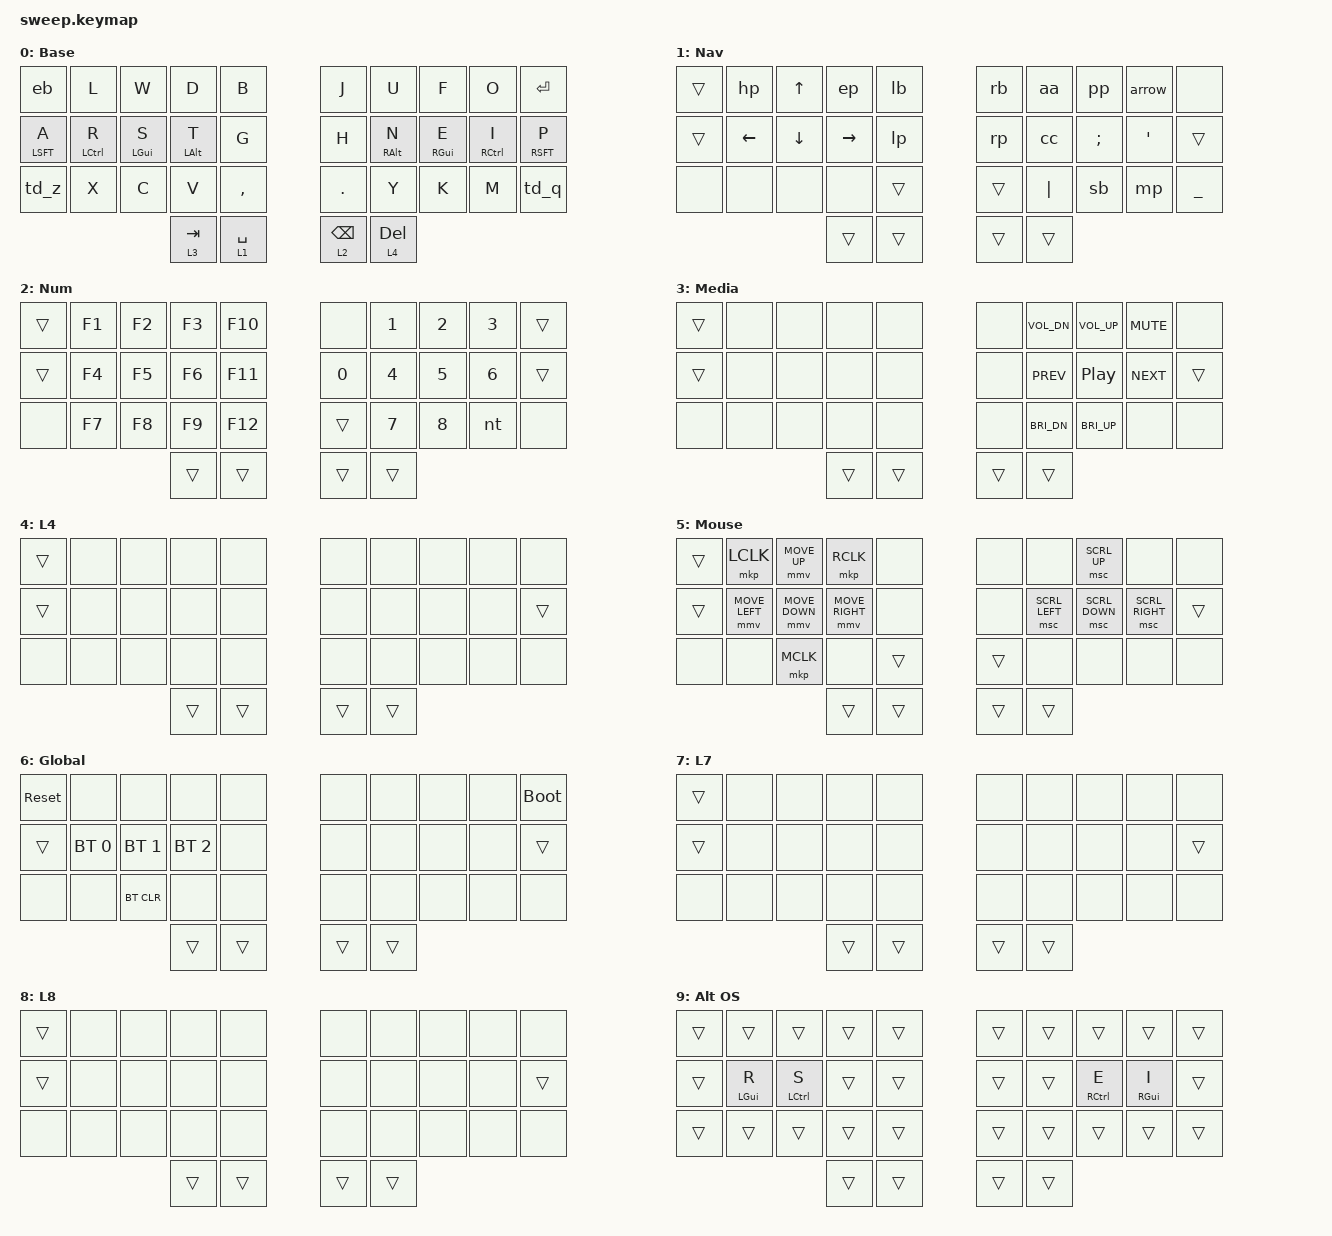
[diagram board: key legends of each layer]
// Copyright (c) 2022 The ZMK Contributors
// SPDX-License-Identifier: MIT

/* ============================ LAYOUT TEMPLATE ============================
   Edit this block, then ask to "translate": the ZMK keymap below is
   regenerated from it. Everything after this block is generated.

   How layers work
     Thumbs, left to right:   TL1   TL0   │   TR0   TR1
     Each thumb held alone gives one layer. Any two thumbs held together
     give a combo layer. Shift lives on the pinky home keys (a, p) and is
     transparent on every layer, so shift-morphs (a|b) work everywhere.

     L0  base
     L1  hold TL0            L5  TL0 + TR0
     L2  hold TR0            L6  TL1 + TR1   global (bluetooth, boot)
     L3  hold TL1            L7  TL1 + TR0   free
     L4  hold TR1   free     L8  TL0 + TR1   free
     L9  alt OS, toggle by double tap on z or q

   Cell syntax
     a          plain key. Names: letters, digits, f1..f12, esc tab ent bspc
                del spc home end pgup pgdn left down up right pipe
                and literal ; , . / ' - = [ ] \ ` ~ _ + < > ( ) { } & : ! ?
     ctl/r      hold = modifier (ctl gui alt sft), tap = key
     L1/spc     hold = layer 1, tap = key
     ctl/z*     same, plus double tap toggles L9 (alt OS)
     [|<        shift-morph: [ normally, < while shift held
     "->"       macro, types the string
     mup mdn mlt mrt    mouse move      msu msd msl msr   mouse scroll
     mlc mrc mmc        mouse click
     vold volu mute play prev next brid briu   media
     bt0 bt1 bt2 btclr boot reset       -  nothing    .  transparent

   L0 base
     esc|`   l       w       d       b       │  j        u       f       o       ent
     sft/a   ctl/r   gui/s   alt/t   g       │  h        alt/n   gui/e   ctl/i   sft/p
     ctl/z*  x       c       v       ,       │  .        y       k       m       ctl/q*
                             L3/tab  L1/spc  │  L2/bspc  L4/del

   L1 hold TL0  (navigation, brackets, symbols)
     .       home|pgdn up    end|pgup [|<    │  ]|>      "&&"    "||"    "->"    -
     .       left    down    right   (|{     │  )|}      "::"    ;       '       .
     -       -       -       -       .       │  .        pipe    /|\     -|+     _
                             .       .       │  .        .

   L2 hold TR0  (numbers, function keys)
     .       f1      f2      f3      f10     │  -        1       2       3       .
     .       f4      f5      f6      f11     │  0        4       5       6       .
     -       f7      f8      f9      f12     │  .        7       8       9|~     -
                             .       .       │  .        .

   L3 hold TL1  (media)
     .       -       -       -       -       │  -        vold    volu    mute    -
     .       -       -       -       -       │  -        prev    play    next    .
     -       -       -       -       -       │  -        brid    briu    -       -
                             .       .       │  .        .

   L4 hold TR1  (free)
     .       -       -       -       -       │  -        -       -       -       -
     .       -       -       -       -       │  -        -       -       -       .
     -       -       -       -       -       │  -        -       -       -       -
                             .       .       │  .        .

   L5 TL0 + TR0  (mouse)
     .       mlc     mup     mrc     -       │  -        -       msu     -       -
     .       mlt     mdn     mrt     -       │  -        msl     msd     msr     .
     -       -       mmc     -       .       │  .        -       -       -       -
                             .       .       │  .        .

   L6 TL1 + TR1  (global)
     reset   -       -       -       -       │  -        -       -       -       boot
     .       bt0     bt1     bt2     -       │  -        -       -       -       .
     -       -       btclr   -       -       │  -        -       -       -       -
                             .       .       │  .        .

   L7 TL1 + TR0  (free)
     .       -       -       -       -       │  -        -       -       -       -
     .       -       -       -       -       │  -        -       -       -       .
     -       -       -       -       -       │  -        -       -       -       -
                             .       .       │  .        .

   L8 TL0 + TR1  (free)
     .       -       -       -       -       │  -        -       -       -       -
     .       -       -       -       -       │  -        -       -       -       .
     -       -       -       -       -       │  -        -       -       -       -
                             .       .       │  .        .

   L9 alt OS  (swaps gui and ctl on the home row)
     .       .       .       .       .       │  .        .       .       .       .
     .       gui/r   ctl/s   .       .       │  .        .       ctl/e   gui/i   .
     .       .       .       .       .       │  .        .       .       .       .
                             .       .       │  .        .
   ========================================================================= */

#include <behaviors.dtsi>
#include <dt-bindings/zmk/keys.h>
#include <dt-bindings/zmk/bt.h>
#include <dt-bindings/zmk/pointing.h>

/ {
    behaviors {
        ht: hold_tap {
            compatible = "zmk,behavior-hold-tap";
            #binding-cells = <2>;
            flavor = "tap-preferred";
            tapping-term-ms = <220>;
            quick-tap-ms = <150>;
            require-prior-idle-ms = <100>;
            bindings = <&kp>, <&kp>;
        };

        // shift-morphs: a|b
        eb: eb { compatible = "zmk,behavior-mod-morph"; #binding-cells = <0>; mods = <(MOD_LSFT|MOD_RSFT)>; bindings = <&kp ESC>,   <&kp GRAVE>; };
        hp: hp { compatible = "zmk,behavior-mod-morph"; #binding-cells = <0>; mods = <(MOD_LSFT|MOD_RSFT)>; bindings = <&kp HOME>,  <&kp PG_DN>; };
        ep: ep { compatible = "zmk,behavior-mod-morph"; #binding-cells = <0>; mods = <(MOD_LSFT|MOD_RSFT)>; bindings = <&kp END>,   <&kp PG_UP>; };
        lb: lb { compatible = "zmk,behavior-mod-morph"; #binding-cells = <0>; mods = <(MOD_LSFT|MOD_RSFT)>; bindings = <&kp LBKT>,  <&kp LT>; };
        rb: rb { compatible = "zmk,behavior-mod-morph"; #binding-cells = <0>; mods = <(MOD_LSFT|MOD_RSFT)>; bindings = <&kp RBKT>,  <&kp GT>; };
        lp: lp { compatible = "zmk,behavior-mod-morph"; #binding-cells = <0>; mods = <(MOD_LSFT|MOD_RSFT)>; bindings = <&kp LPAR>,  <&kp LBRC>; };
        rp: rp { compatible = "zmk,behavior-mod-morph"; #binding-cells = <0>; mods = <(MOD_LSFT|MOD_RSFT)>; bindings = <&kp RPAR>,  <&kp RBRC>; };
        sb: sb { compatible = "zmk,behavior-mod-morph"; #binding-cells = <0>; mods = <(MOD_LSFT|MOD_RSFT)>; bindings = <&kp FSLH>,  <&kp BSLH>; };
        mp: mp { compatible = "zmk,behavior-mod-morph"; #binding-cells = <0>; mods = <(MOD_LSFT|MOD_RSFT)>; bindings = <&kp MINUS>, <&kp PLUS>; };
        nt: nt { compatible = "zmk,behavior-mod-morph"; #binding-cells = <0>; mods = <(MOD_LSFT|MOD_RSFT)>; bindings = <&kp N9>,    <&kp TILDE>; };

        // ctl/z* and ctl/q*: tap z/q, hold ctrl, double tap toggles alt OS
        td_z: td_z { compatible = "zmk,behavior-tap-dance"; #binding-cells = <0>; tapping-term-ms = <250>; bindings = <&ht LCTRL Z>, <&tog 9>; };
        td_q: td_q { compatible = "zmk,behavior-tap-dance"; #binding-cells = <0>; tapping-term-ms = <250>; bindings = <&ht RCTRL Q>, <&tog 9>; };
    };

    macros {
        aa:    aa    { compatible = "zmk,behavior-macro"; #binding-cells = <0>; bindings = <&kp AMPS &kp AMPS>; };
        pp:    pp    { compatible = "zmk,behavior-macro"; #binding-cells = <0>; bindings = <&kp PIPE &kp PIPE>; };
        arrow: arrow { compatible = "zmk,behavior-macro"; #binding-cells = <0>; bindings = <&kp MINUS &kp GT>; };
        cc:    cc    { compatible = "zmk,behavior-macro"; #binding-cells = <0>; bindings = <&kp COLON &kp COLON>; };
    };

    conditional_layers {
        compatible = "zmk,conditional-layers";
        tl0_tr0 { if-layers = <1 2>; then-layer = <5>; };
        tl1_tr1 { if-layers = <3 4>; then-layer = <6>; };
        tl1_tr0 { if-layers = <3 2>; then-layer = <7>; };
        tl0_tr1 { if-layers = <1 4>; then-layer = <8>; };
    };

    keymap {
        compatible = "zmk,keymap";

        l0_base {
            display-name = "Base";
            bindings = <
  &eb           &kp L         &kp W         &kp D         &kp B             &kp J         &kp U         &kp F         &kp O         &kp ENTER
  &ht LSFT A    &ht LCTRL R   &ht LGUI S    &ht LALT T    &kp G             &kp H         &ht RALT N    &ht RGUI E    &ht RCTRL I   &ht RSFT P
  &td_z         &kp X         &kp C         &kp V         &kp COMMA         &kp DOT       &kp Y         &kp K         &kp M         &td_q
                                            &lt 3 TAB     &lt 1 SPACE       &lt 2 BSPC    &lt 4 DEL
            >;
        };

        l1_tl0 {
            display-name = "Nav";
            bindings = <
  &trans        &hp           &kp UP        &ep           &lb               &rb           &aa           &pp           &arrow        &none
  &trans        &kp LEFT      &kp DOWN      &kp RIGHT     &lp               &rp           &cc           &kp SEMI      &kp QUOT      &trans
  &none         &none         &none         &none         &trans            &trans        &kp PIPE      &sb           &mp           &kp UNDER
                                            &trans        &trans            &trans        &trans
            >;
        };

        l2_tr0 {
            display-name = "Num";
            bindings = <
  &trans        &kp F1        &kp F2        &kp F3        &kp F10           &none         &kp N1        &kp N2        &kp N3        &trans
  &trans        &kp F4        &kp F5        &kp F6        &kp F11           &kp N0        &kp N4        &kp N5        &kp N6        &trans
  &none         &kp F7        &kp F8        &kp F9        &kp F12           &trans        &kp N7        &kp N8        &nt           &none
                                            &trans        &trans            &trans        &trans
            >;
        };

        l3_tl1 {
            display-name = "Media";
            bindings = <
  &trans        &none         &none         &none         &none             &none         &kp C_VOL_DN  &kp C_VOL_UP  &kp C_MUTE    &none
  &trans        &none         &none         &none         &none             &none         &kp C_PREV    &kp C_PP      &kp C_NEXT    &trans
  &none         &none         &none         &none         &none             &none         &kp C_BRI_DN  &kp C_BRI_UP  &none         &none
                                            &trans        &trans            &trans        &trans
            >;
        };

        l4_tr1 {
            display-name = "L4";
            bindings = <
  &trans        &none         &none         &none         &none             &none         &none         &none         &none         &none
  &trans        &none         &none         &none         &none             &none         &none         &none         &none         &trans
  &none         &none         &none         &none         &none             &none         &none         &none         &none         &none
                                            &trans        &trans            &trans        &trans
            >;
        };

        l5_tl0_tr0 {
            display-name = "Mouse";
            bindings = <
  &trans        &mkp LCLK     &mmv MOVE_UP  &mkp RCLK     &none             &none         &none         &msc SCRL_UP  &none         &none
  &trans        &mmv MOVE_LEFT &mmv MOVE_DOWN &mmv MOVE_RIGHT &none         &none         &msc SCRL_LEFT &msc SCRL_DOWN &msc SCRL_RIGHT &trans
  &none         &none         &mkp MCLK     &none         &trans            &trans        &none         &none         &none         &none
                                            &trans        &trans            &trans        &trans
            >;
        };

        l6_tl1_tr1 {
            display-name = "Global";
            bindings = <
  &sys_reset    &none         &none         &none         &none             &none         &none         &none         &none         &bootloader
  &trans        &bt BT_SEL 0  &bt BT_SEL 1  &bt BT_SEL 2  &none             &none         &none         &none         &none         &trans
  &none         &none         &bt BT_CLR    &none         &none             &none         &none         &none         &none         &none
                                            &trans        &trans            &trans        &trans
            >;
        };

        l7_tl1_tr0 {
            display-name = "L7";
            bindings = <
  &trans        &none         &none         &none         &none             &none         &none         &none         &none         &none
  &trans        &none         &none         &none         &none             &none         &none         &none         &none         &trans
  &none         &none         &none         &none         &none             &none         &none         &none         &none         &none
                                            &trans        &trans            &trans        &trans
            >;
        };

        l8_tl0_tr1 {
            display-name = "L8";
            bindings = <
  &trans        &none         &none         &none         &none             &none         &none         &none         &none         &none
  &trans        &none         &none         &none         &none             &none         &none         &none         &none         &trans
  &none         &none         &none         &none         &none             &none         &none         &none         &none         &none
                                            &trans        &trans            &trans        &trans
            >;
        };

        l9_alt_os {
            display-name = "Alt OS";
            bindings = <
  &trans        &trans        &trans        &trans        &trans            &trans        &trans        &trans        &trans        &trans
  &trans        &ht LGUI R    &ht LCTRL S   &trans        &trans            &trans        &trans        &ht RCTRL E   &ht RGUI I    &trans
  &trans        &trans        &trans        &trans        &trans            &trans        &trans        &trans        &trans        &trans
                                            &trans        &trans            &trans        &trans
            >;
        };
    };
};
